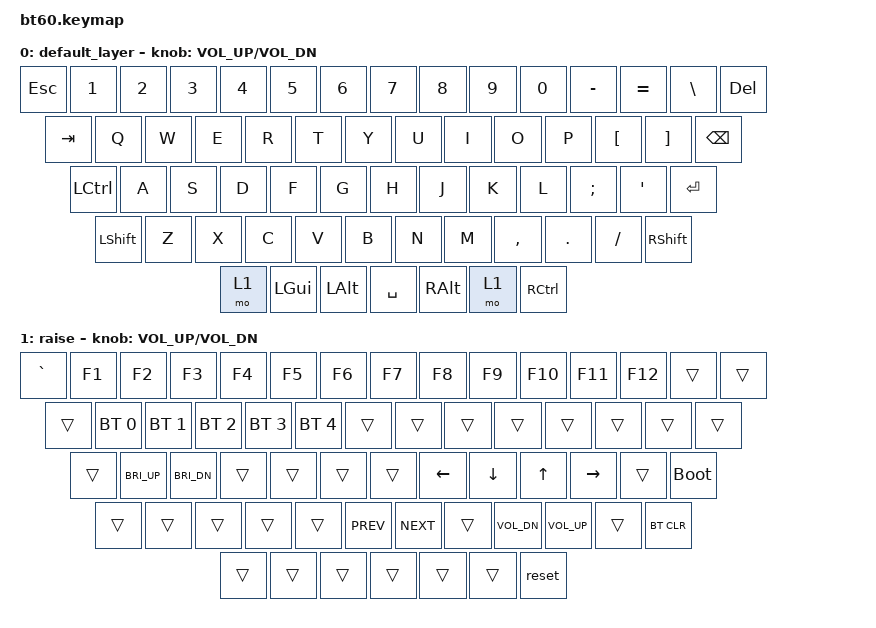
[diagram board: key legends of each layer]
#include <behaviors.dtsi>
#include <dt-bindings/zmk/keys.h>
#include <dt-bindings/zmk/bt.h>

/ {
	keymap {
		compatible = "zmk,keymap";

		default_layer {
				// ------------------------------------------------------------------------------------------
				// | ESC |  1  |  2  |  3  |  4  |  5  |  6  |  7  |  8  |  9  |  0  |  -  |  =  | DEL | BS |
				// | TAB  |  Q  |  W  |  E  |  R  |  T  |  Y  |  U  |  I  |  O  |  P  |  [  |  ]  |         |
				// | CTRL  |  A  |  S  |  D  |  F  |  G  |  H  |  J  |  K  |  L  |  ;  |  '  |    ENTER     |
				// |  SHIFT | |  |  Z  |  X  |  C  |  V  |  B  |  N  |  M  |  ,  |  .  | /   |     SHIFT    |
				// |  FN1  |  WIN  |  ALT  |                     SPACE                 |  ALT  | FN1 | CTRL |
				// ------------------------------------------------------------------------------------------
			bindings = <
				&kp ESC  &kp N1  &kp N2  &kp N3  &kp N4  &kp N5  &kp N6  &kp N7  &kp N8  &kp N9  &kp N0  &kp MINUS  &kp EQUAL  &kp BSLH  &kp DEL
				&kp TAB  &kp Q  &kp W  &kp E  &kp R  &kp T  &kp Y  &kp U  &kp I  &kp O  &kp P  &kp LBKT  &kp RBKT  &kp BSPC
				&kp LCTRL  &kp A  &kp S  &kp D  &kp F  &kp G  &kp H  &kp J  &kp K  &kp L  &kp SEMI  &kp SQT  &kp RET
				&kp LSHFT  &kp Z  &kp X  &kp C  &kp V  &kp B  &kp N  &kp M  &kp COMMA  &kp DOT  &kp FSLH  &kp RSHFT
				&mo 1  &kp LGUI  &kp LALT            &kp SPACE                          &kp RALT  &mo 1  &kp RCTRL
			>;
			sensor-bindings = <&inc_dec_kp C_VOL_UP C_VOL_DN>;
		};
		raise {
                // ------------------------------------------------------------------------------------------
				// |  ` | F1  | F2  | F3  | F4  | F5  | F6  | F7  | F8  | F9  | F10 | F11 | F12 |     |     |
				// | TAB  |  Q  |  W  |  E  |  R  |  T  |  Y  |  U  |  I  |  O  |  P  |  [  |  ]  |         |
				// | CAPS  |  A  |  S  |  D  |  F  |  G  |  H  |  J  |  K  |  L  |  ;  |  '  |  #   | ENTER |
				// |  SHIFT |  Z  |  X  |  C  |  V  |  B  |  N  |  M  |  ,  |  .  | /   |     SHIFT    |
				// |  CTL  |  WIN  |  ALT  |                     SPACE        |   ALT   |  1  | MENU | CTRL |
				// ------------------------------------------------------------------------------------------
            // ------------------------------------------------------------------------------------------
				// |  ` | F1  | F2  | F3  | F4  | F5  | F6  | F7  | F8  | F9  | F10 | F11 | F12 |     |     |
				// |      | BT0 | BT1 | BT2 | BT3 | BT4 |     |     |     |     |      |      |     |       |
				// |        | BR_UP | BR_DN |     |     |    |    | LFT | DWN | UP  | RGT |    |    | BOOT  |
				// |           |     |     |     |     | M_PR | M_NX |     | V_UP | V_DN |     |   BT_CLR   |
				// |       |       |       |                                        |       |       |  RST  |
				// ------------------------------------------------------------------------------------------
			bindings = <
				&kp GRAVE  &kp F1  &kp F2  &kp F3  &kp F4  &kp F5  &kp F6  &kp F7  &kp F8  &kp F9  &kp F10  &kp F11  &kp F12  &trans  &trans
				&trans  &bt BT_SEL 0  &bt BT_SEL 1  &bt BT_SEL 2  &bt BT_SEL 3  &bt BT_SEL 4  &trans  &trans  &trans  &trans  &trans  &trans  &trans  &trans
				&trans  &kp C_BRI_UP  &kp C_BRI_DN  &trans  &trans  &trans  &trans  &kp LEFT  &kp DOWN  &kp UP  &kp RIGHT  &trans  &bootloader
				&trans  &trans  &trans  &trans  &trans  &kp C_PREV  &kp C_NEXT  &trans  &kp C_VOL_DN  &kp C_VOL_UP  &trans  &bt BT_CLR
				&trans  &trans  &trans                       &trans                             &trans  &trans  &reset
			>;
			sensor-bindings = <&inc_dec_kp C_VOL_UP C_VOL_DN>;
		};
	};
};
